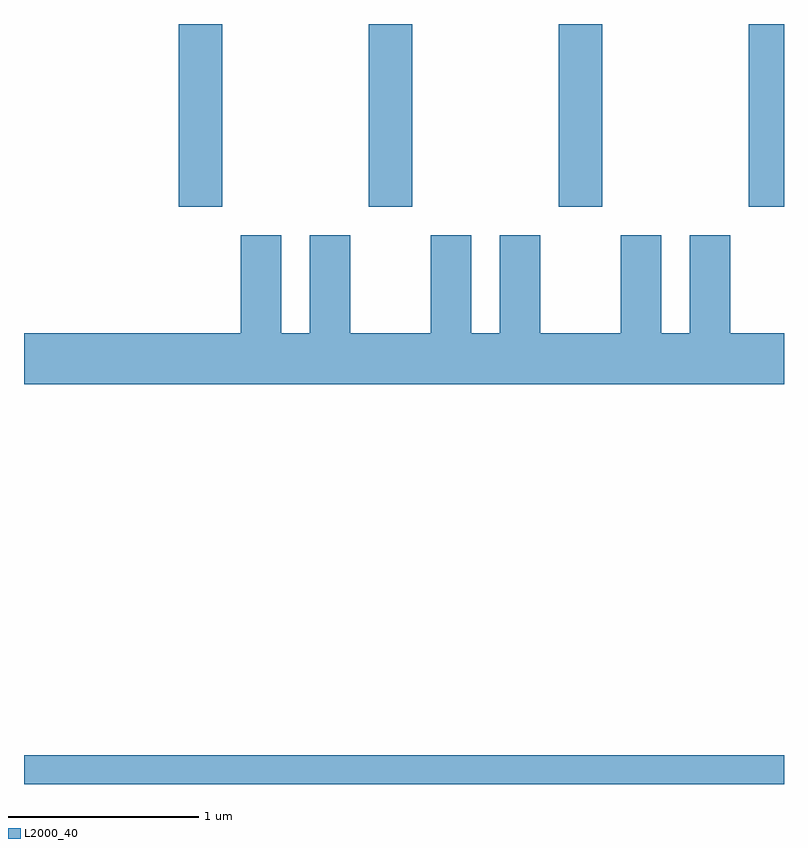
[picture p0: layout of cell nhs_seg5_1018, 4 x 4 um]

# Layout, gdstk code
import gdstk
lib = gdstk.Library(unit=1e-6, precision=1e-09)
def R(c, l, rs):  # rectangles x0, y0, x1, y1
    for r in rs: c.add(gdstk.rectangle(r[:2], r[2:], *l))
def A(c, l, x, y, w, h, nx, ny, dx, dy):  # array of equal rectangles
    R(c, l, [(x+i*dx, y+j*dy, x+i*dx+w, y+j*dy+h) for i in range(nx) for j in range(ny)])
def P(c, l, *ps):  # polygons
    for p in ps: c.add(gdstk.Polygon(p, *l))
L2000_40 = (2000, 40)

nhs_seg5_1018 = lib.new_cell('nhs_seg5_1018')
A(nhs_seg5_1018, L2000_40, 216.426, 1411.111, 0.228, 0.961, 3, 1, 1, 0)
R(nhs_seg5_1018, L2000_40, [(215.611,1408.072,219.611,1408.224), (219.426,1411.111,219.611,1412.072)])
P(nhs_seg5_1018, L2000_40, [(219.611,1410.444),(219.329,1410.444),(219.329,1410.959),(219.116,1410.959),(219.116,1410.444),(218.964,1410.444),(218.964,1410.959),(218.751,1410.959),(218.751,1410.444),(218.329,1410.444),(218.329,1410.959),(218.116,1410.959),(218.116,1410.444),(217.964,1410.444),(217.964,1410.959),(217.751,1410.959),(217.751,1410.444),(217.329,1410.444),(217.329,1410.959),(217.116,1410.959),(217.116,1410.444),(216.964,1410.444),(216.964,1410.959),(216.751,1410.959),(216.751,1410.444),(215.611,1410.444),(215.611,1410.176),(219.611,1410.176)])

lib.write_gds('nhs_seg5_1018.gds')
